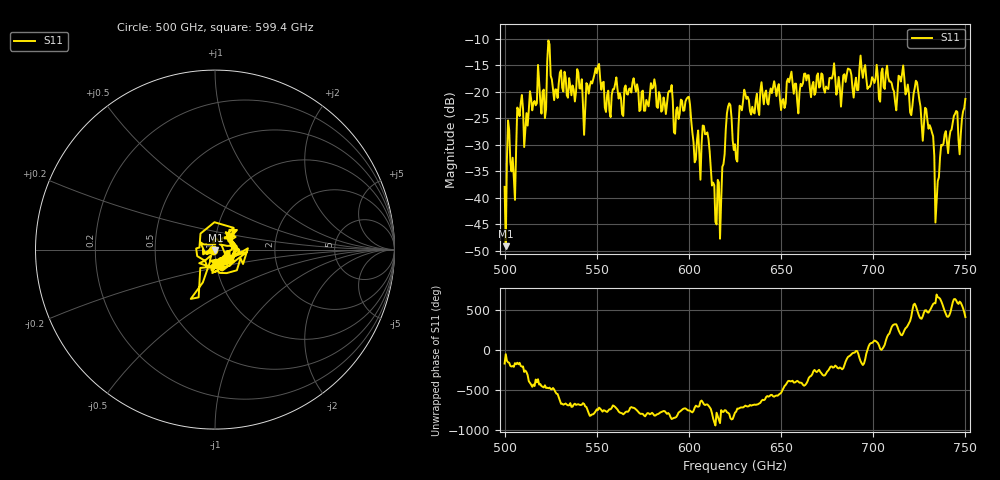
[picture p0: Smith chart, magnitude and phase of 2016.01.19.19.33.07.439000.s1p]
!Created with skrf (http://scikit-rf.org).
# GHz S RI R 50.0
!freq ReS11 ImS11
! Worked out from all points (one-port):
!   401 points, 500 GHz to 750 GHz, reference 50 ohm
!   lowest |S11| = -49.1 dB at 500.6 GHz (marker M1), VSWR 1.01, Z = 50.2 - j0.274 ohm
!   |S11| at or under -10 dB: start of sweep to end of sweep
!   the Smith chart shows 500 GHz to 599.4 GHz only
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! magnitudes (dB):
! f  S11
! 500 GHz  -37.9
! 500.6 GHz  -49.1
! 502.5 GHz  -27.3
! 505 GHz  -36.2
! 508.1 GHz  -24.6
! 521.2 GHz  -19.6
! 524.4 GHz  -11.0
! 527.5 GHz  -19.5
! 531.2 GHz  -19.2
! 543.8 GHz  -23.1
! 550 GHz  -16.5
! 562.5 GHz  -20.2
! 580.6 GHz  -19.1
! 593.8 GHz  -22.9
! 599.4 GHz  -21.0
! 605 GHz  -27.3
! 608.8 GHz  -28.0
! 615.6 GHz  -36.6
! 621.2 GHz  -22.8
! 625 GHz  -29.9
! 630.6 GHz  -20.4
! 656.2 GHz  -18.4
! 687.5 GHz  -15.8
! 718.8 GHz  -18.6
! 729.4 GHz  -25.3
! 735 GHz  -36.8
! 738.1 GHz  -29.8
! 750 GHz  -21.3
